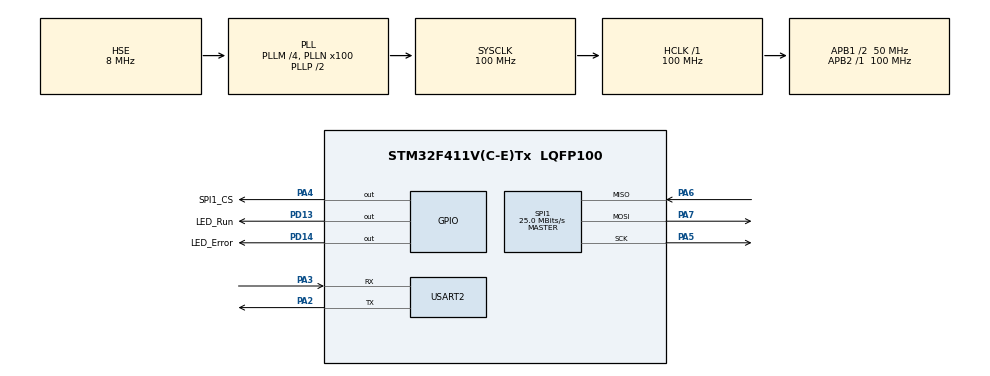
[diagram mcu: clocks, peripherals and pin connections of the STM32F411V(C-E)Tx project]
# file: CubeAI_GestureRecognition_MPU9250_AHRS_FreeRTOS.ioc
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FREERTOS.Tasks01=defaultTask,-3,128,StartDefaultTask,Default,NULL,Dynamic,NULL,NULL
FREERTOS.configUSE_NEWLIB_REENTRANT=1
Mcu.Family=STM32F4
Mcu.Name=STM32F411V(C-E)Tx
Mcu.Package=LQFP100
NVIC.PriorityGroup=NVIC_PRIORITYGROUP_4
NVIC.TIM1_TRG_COM_TIM11_IRQn=true\:15\:0\:false\:false\:true\:false\:false\:true\:true
NVIC.TimeBase=TIM1_TRG_COM_TIM11_IRQn
NVIC.TimeBaseIP=TIM11
PA13.Mode=Trace_Asynchronous_SW
PA13.Signal=SYS_JTMS-SWDIO
PA14.Mode=Trace_Asynchronous_SW
PA14.Signal=SYS_JTCK-SWCLK
PA2.Mode=Asynchronous
PA2.Signal=USART2_TX
PA3.Mode=Asynchronous
PA3.Signal=USART2_RX
PA4.GPIO_Label=SPI1_CS
PA4.Signal=GPIO_Output
PA5.Mode=Full_Duplex_Master
PA5.Signal=SPI1_SCK
PA6.Mode=Full_Duplex_Master
PA6.Signal=SPI1_MISO
PA7.Mode=Full_Duplex_Master
PA7.Signal=SPI1_MOSI
PB3.Mode=Trace_Asynchronous_SW
PB3.Signal=SYS_JTDO-SWO
PD13.GPIO_Label=LED_Run
PD13.Signal=GPIO_Output
PD14.GPIO_Label=LED_Error
PD14.Signal=GPIO_Output
PH0\ -\ OSC_IN.Mode=HSE-External-Oscillator
PH0\ -\ OSC_IN.Signal=RCC_OSC_IN
PH1\ -\ OSC_OUT.Mode=HSE-External-Oscillator
PH1\ -\ OSC_OUT.Signal=RCC_OSC_OUT
ProjectManager.HeapSize=0x800
ProjectManager.StackSize=0x800
ProjectManager.TargetToolchain=STM32CubeIDE
RCC.48MHZClocksFreq_Value=50000000
RCC.AHBFreq_Value=100000000
RCC.APB1CLKDivider=RCC_HCLK_DIV2
RCC.APB1Freq_Value=50000000
RCC.APB1TimFreq_Value=100000000
RCC.APB2Freq_Value=100000000
RCC.APB2TimFreq_Value=100000000
RCC.CortexFreq_Value=100000000
RCC.HCLKFreq_Value=100000000
RCC.HSE_VALUE=8000000
RCC.HSI_VALUE=16000000
RCC.LSE_VALUE=32768
RCC.PLLM=4
RCC.PLLN=100
RCC.PLLSourceVirtual=RCC_PLLSOURCE_HSE
RCC.SYSCLKFreq_VALUE=100000000
RCC.SYSCLKSource=RCC_SYSCLKSOURCE_PLLCLK
RCC.VCOOutputFreq_Value=200000000
SPI1.BaudRatePrescaler=SPI_BAUDRATEPRESCALER_4
SPI1.CalculateBaudRate=25.0 MBits/s
SPI1.Direction=SPI_DIRECTION_2LINES
SPI1.Mode=SPI_MODE_MASTER
SPI1.VirtualType=VM_MASTER
STMicroelectronics.X-CUBE-AI.9.0.0.ActivationBufferSizeList=360
STMicroelectronics.X-CUBE-AI.9.0.0.ActivationBuffers=pool0
STMicroelectronics.X-CUBE-AI.9.0.0.ActivationNames=pool0
STMicroelectronics.X-CUBE-AI.9.0.0.ActivationSizes=AI_IMU_MODEL_DATA_ACTIVATION_1_SIZE
STMicroelectronics.X-CUBE-AI.9.0.0.HeapSize=0x800
STMicroelectronics.X-CUBE-AI.9.0.0.InternalRamActivationBufferMaxSize=AI_IMU_MODEL_DATA_ACTIVATIONS_SIZE
STMicroelectronics.X-CUBE-AI.9.0.0.LatestDirectoryUsed-dc48f1263a0d28c3eaaa99dabfee9bb7557ad0ee74f6f283db58200e41470940=E\:\\sbzrgn\\My-STM32_Discoveries\\STM32F411_Discovery\\STM32F411Discovery_CubeAI_GestureRecognition_MPU9250_AHRS_FreeRTOS
STMicroelectronics.X-CUBE-AI.9.0.0.MaximumNumberOfInputLayer=1
STMicroelectronics.X-CUBE-AI.9.0.0.MaximumNumberOfOutputLayer=1
STMicroelectronics.X-CUBE-AI.9.0.0.MaximumSizeOfInputLayer=1
STMicroelectronics.X-CUBE-AI.9.0.0.MaximumSizeOfOutputLayer=1
STMicroelectronics.X-CUBE-AI.9.0.0.ModelActualCompression-dc48f1263a0d28c3eaaa99dabfee9bb7557ad0ee74f6f283db58200e41470940=0.0
STMicroelectronics.X-CUBE-AI.9.0.0.ModelCompression-dc48f1263a0d28c3eaaa99dabfee9bb7557ad0ee74f6f283db58200e41470940=None
STMicroelectronics.X-CUBE-AI.9.0.0.ModelFlashOccupation-dc48f1263a0d28c3eaaa99dabfee9bb7557ad0ee74f6f283db58200e41470940=828
STMicroelectronics.X-CUBE-AI.9.0.0.ModelHashList=dc48f1263a0d28c3eaaa99dabfee9bb7557ad0ee74f6f283db58200e41470940
STMicroelectronics.X-CUBE-AI.9.0.0.ModelKind-dc48f1263a0d28c3eaaa99dabfee9bb7557ad0ee74f6f283db58200e41470940=TFLITE
STMicroelectronics.X-CUBE-AI.9.0.0.ModelMacc-dc48f1263a0d28c3eaaa99dabfee9bb7557ad0ee74f6f283db58200e41470940=720
STMicroelectronics.X-CUBE-AI.9.0.0.ModelName-dc48f1263a0d28c3eaaa99dabfee9bb7557ad0ee74f6f283db58200e41470940=imu_model
STMicroelectronics.X-CUBE-AI.9.0.0.ModelNameList=imu_model
STMicroelectronics.X-CUBE-AI.9.0.0.ModelRamOccupation-dc48f1263a0d28c3eaaa99dabfee9bb7557ad0ee74f6f283db58200e41470940=360
STMicroelectronics.X-CUBE-AI.9.0.0.ModelStructureFile-dc48f1263a0d28c3eaaa99dabfee9bb7557ad0ee74f6f283db58200e41470940=E\:\\sbzrgn\\My-STM32_Discoveries\\STM32F411_Discovery\\STM32F411Discovery_CubeAI_GestureRecognition_MPU9250_AHRS_FreeRTOS\\imu_model.tflite
STMicroelectronics.X-CUBE-AI.9.0.0.ModelType-dc48f1263a0d28c3eaaa99dabfee9bb7557ad0ee74f6f283db58200e41470940=STM32Cube.AI MCU runtime
STMicroelectronics.X-CUBE-AI.9.0.0.ReadyForCodeGeneration=true
STMicroelectronics.X-CUBE-AI.9.0.0.StackSize=0x800
STMicroelectronics.X-CUBE-AI.9.0.0.WorkingBufferStartAddrList=0xFFFFFFFF
STMicroelectronics.X-CUBE-AI.9.0.0.XAaCUBEAaAICcArtificialOoIntelligenceJjCore=true
STMicroelectronics.X-CUBE-AI.9.0.0.copyWeightToRam=false
STMicroelectronics.X-CUBE-AI.9.0.0.copyWeightToRam-dc48f1263a0d28c3eaaa99dabfee9bb7557ad0ee74f6f283db58200e41470940=false
STMicroelectronics.X-CUBE-AI.9.0.0.customLayerConfigEnabled=false
STMicroelectronics.X-CUBE-AI.9.0.0.customLayerConfigEnabled-dc48f1263a0d28c3eaaa99dabfee9bb7557ad0ee74f6f283db58200e41470940=false
STMicroelectronics.X-CUBE-AI.9.0.0.noOnnxIoTranspose=false
STMicroelectronics.X-CUBE-AI.9.0.0.noOnnxIoTranspose-dc48f1263a0d28c3eaaa99dabfee9bb7557ad0ee74f6f283db58200e41470940=false
STMicroelectronics.X-CUBE-AI.9.0.0.useInputAllocation=true
STMicroelectronics.X-CUBE-AI.9.0.0.useInputAllocation-dc48f1263a0d28c3eaaa99dabfee9bb7557ad0ee74f6f283db58200e41470940=true
STMicroelectronics.X-CUBE-AI.9.0.0.useOutputAllocation=true
STMicroelectronics.X-CUBE-AI.9.0.0.useOutputAllocation-dc48f1263a0d28c3eaaa99dabfee9bb7557ad0ee74f6f283db58200e41470940=true
USART2.VirtualMode=VM_ASYNC
VP_CRC_VS_CRC.Mode=CRC_Activate
VP_FREERTOS_VS_CMSIS_V1.Mode=CMSIS_V1
VP_STMicroelectronics.X-CUBE-AI_VS_ArtificialOoIntelligenceJjXAaCUBEAaAI_9.0.0.Mode=ArtificialOoIntelligenceJjXAaCUBEAaAI
VP_SYS_VS_tim11.Mode=TIM11
board=custom

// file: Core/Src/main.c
/* USER CODE BEGIN Header */
/**
  ******************************************************************************
  * @file           : main.c
  * @brief          : Main program body
  ******************************************************************************
  * @attention
  *
  * Copyright (c) 2025 STMicroelectronics.
  * All rights reserved.
  *
  * This software is licensed under terms that can be found in the LICENSE file
  * in the root directory of this software component.
  * If no LICENSE file comes with this software, it is provided AS-IS.
  *
  ******************************************************************************
  */
/* USER CODE END Header */
#include "main.h"
#include "cmsis_os.h"

/* USER CODE BEGIN Includes */
#include "stdio.h"
#include "string.h"
#include "math.h"

#include "HAL_MPU9250.h"

#include "ai_datatypes_defines.h"
#include "ai_platform.h"
#include "imu_model.h"
#include "imu_model_data.h"
/* USER CODE END Includes */

/* USER CODE BEGIN PD */

/**
 * @brief If you want to read sensor data and send it to Python, Debug should be set to 1.
 * Otherwise, if you want to use the model to predict direction, Debug should be set to 0.
*/
#define Debug					1

#define ZERO_MAX				20
#define ZERO_MIN				-20
#define RAD2DEG 				57.2957795131
#define ALPHA 					0.98f          // Complementary filter coefficient
/* USER CODE END PD */

CRC_HandleTypeDef hcrc;

SPI_HandleTypeDef hspi1;

UART_HandleTypeDef huart2;

osThreadId defaultTaskHandle;
/* USER CODE BEGIN PV */
osThreadId runTaskHandle;
osThreadId readDataTaskHandle;
osThreadId sendDataTaskHandle;
osMessageQId Queue_1Handle;

MPU9250TypeDef MPU9250;

uint8_t IMU_rawData[14] = {0};
int16_t Raw_Accel[3] = {0}, Raw_Gyro[3] = {0};

float GX = 0, GY = 0, GZ = 0, AX = 0, AY = 0, AZ = 0;
float Roll, Pitch, Yaw;

typedef struct
{
	uint8_t Shifted_Roll;
	uint8_t Shifted_Pitch;
}IMUdata_t;

// AI buffers
AI_ALIGNED(4) ai_u8 activations[AI_IMU_MODEL_DATA_ACTIVATIONS_SIZE];
AI_ALIGNED(4) ai_u8 in_data[AI_IMU_MODEL_IN_1_SIZE_BYTES];
AI_ALIGNED(4) ai_u8 out_data[AI_IMU_MODEL_OUT_1_SIZE_BYTES];

ai_handle imu_model = AI_HANDLE_NULL;
ai_buffer *ai_input;
ai_buffer *ai_output;
/* USER CODE END PV */

void SystemClock_Config(void);
static void MX_GPIO_Init(void);
static void MX_SPI1_Init(void);
static void MX_USART2_UART_Init(void);
static void MX_CRC_Init(void);
void StartDefaultTask(void const * argument);

/* USER CODE BEGIN PFP */
void StartRunTask(void const * argument);
void StartReadDataTask(void const * argument);

#if Debug
void StartSendDataTask(void const * argument);
#endif

void IMU_Init(void);
void IMU_readRawData(void);
void IMU_UpdateAngles(float dt);

int run_imu_model(void);
/* USER CODE END PFP */

/* USER CODE BEGIN 0 */
int _write(int file, char *ptr, int len)
{
	int i = 0;
	for(i = 0; i < len; i++)
	{
		ITM_SendChar(*ptr++);
	}
	return len;
}
/* USER CODE END 0 */

int main(void)
{

  /* MCU Configuration--------------------------------------------------------*/

  /* Reset of all peripherals, Initializes the Flash interface and the Systick. */
  HAL_Init();

  /* Configure the system clock */
  SystemClock_Config();

  /* Initialize all configured peripherals */
  MX_GPIO_Init();
  MX_SPI1_Init();
  MX_USART2_UART_Init();
  MX_CRC_Init();
  /* USER CODE BEGIN 2 */
  run_imu_model();
  /* USER CODE END 2 */

  /* USER CODE BEGIN RTOS_QUEUES */
  /* add queues, ... */
#if Debug
  osMessageQDef(Queue_1, 1, sizeof(IMUdata_t));
  Queue_1Handle = osMessageCreate(osMessageQ(Queue_1), NULL);
#endif
  /* USER CODE END RTOS_QUEUES */

  /* Create the thread(s) */
  /* definition and creation of defaultTask */
  osThreadDef(defaultTask, StartDefaultTask, osPriorityIdle, 0, 128);
  defaultTaskHandle = osThreadCreate(osThread(defaultTask), NULL);

  /* USER CODE BEGIN RTOS_THREADS */
  /* add threads, ... */
  /* definition and creation of runTask */
  osThreadDef(runTask, StartRunTask, osPriorityNormal, 0, 128);
  runTaskHandle = osThreadCreate(osThread(runTask), NULL);

  /* definition and creation of readDataTask */
  osThreadDef(readDataTask, StartReadDataTask, osPriorityIdle, 0, 512);
  readDataTaskHandle = osThreadCreate(osThread(readDataTask), NULL);
#if Debug
  /* definition and creation of sendDataTask */
  osThreadDef(sendDataTask, StartSendDataTask, osPriorityNormal, 0, 512);
  sendDataTaskHandle = osThreadCreate(osThread(sendDataTask), NULL);
#endif
  /* USER CODE END RTOS_THREADS */

  /* Start scheduler */
  osKernelStart();

  /* We should never get here as control is now taken by the scheduler */

  /* Infinite loop */
  while (1)
  {

  }
}

void SystemClock_Config(void)
{
  RCC_OscInitTypeDef RCC_OscInitStruct = {0};
  RCC_ClkInitTypeDef RCC_ClkInitStruct = {0};

  /** Configure the main internal regulator output voltage
  */
  __HAL_RCC_PWR_CLK_ENABLE();
  __HAL_PWR_VOLTAGESCALING_CONFIG(PWR_REGULATOR_VOLTAGE_SCALE1);

  /** Initializes the RCC Oscillators according to the specified parameters
  * in the RCC_OscInitTypeDef structure.
  */
  RCC_OscInitStruct.OscillatorType = RCC_OSCILLATORTYPE_HSE;
  RCC_OscInitStruct.HSEState = RCC_HSE_ON;
  RCC_OscInitStruct.PLL.PLLState = RCC_PLL_ON;
  RCC_OscInitStruct.PLL.PLLSource = RCC_PLLSOURCE_HSE;
  RCC_OscInitStruct.PLL.PLLM = 4;
  RCC_OscInitStruct.PLL.PLLN = 100;
  RCC_OscInitStruct.PLL.PLLP = RCC_PLLP_DIV2;
  RCC_OscInitStruct.PLL.PLLQ = 4;
  if (HAL_RCC_OscConfig(&RCC_OscInitStruct) != HAL_OK)
  {
    Error_Handler();
  }

  /** Initializes the CPU, AHB and APB buses clocks
  */
  RCC_ClkInitStruct.ClockType = RCC_CLOCKTYPE_HCLK|RCC_CLOCKTYPE_SYSCLK
                              |RCC_CLOCKTYPE_PCLK1|RCC_CLOCKTYPE_PCLK2;
  RCC_ClkInitStruct.SYSCLKSource = RCC_SYSCLKSOURCE_PLLCLK;
  RCC_ClkInitStruct.AHBCLKDivider = RCC_SYSCLK_DIV1;
  RCC_ClkInitStruct.APB1CLKDivider = RCC_HCLK_DIV2;
  RCC_ClkInitStruct.APB2CLKDivider = RCC_HCLK_DIV1;

  if (HAL_RCC_ClockConfig(&RCC_ClkInitStruct, FLASH_LATENCY_3) != HAL_OK)
  {
    Error_Handler();
  }
}

static void MX_CRC_Init(void)
{

  hcrc.Instance = CRC;
  if (HAL_CRC_Init(&hcrc) != HAL_OK)
  {
    Error_Handler();
  }

}

static void MX_SPI1_Init(void)
{

  /* SPI1 parameter configuration*/
  hspi1.Instance = SPI1;
  hspi1.Init.Mode = SPI_MODE_MASTER;
  hspi1.Init.Direction = SPI_DIRECTION_2LINES;
  hspi1.Init.DataSize = SPI_DATASIZE_8BIT;
  hspi1.Init.CLKPolarity = SPI_POLARITY_LOW;
  hspi1.Init.CLKPhase = SPI_PHASE_1EDGE;
  hspi1.Init.NSS = SPI_NSS_SOFT;
  hspi1.Init.BaudRatePrescaler = SPI_BAUDRATEPRESCALER_4;
  hspi1.Init.FirstBit = SPI_FIRSTBIT_MSB;
  hspi1.Init.TIMode = SPI_TIMODE_DISABLE;
  hspi1.Init.CRCCalculation = SPI_CRCCALCULATION_DISABLE;
  hspi1.Init.CRCPolynomial = 10;
  if (HAL_SPI_Init(&hspi1) != HAL_OK)
  {
    Error_Handler();
  }

}

static void MX_USART2_UART_Init(void)
{

  huart2.Instance = USART2;
  huart2.Init.BaudRate = 115200;
  huart2.Init.WordLength = UART_WORDLENGTH_8B;
  huart2.Init.StopBits = UART_STOPBITS_1;
  huart2.Init.Parity = UART_PARITY_NONE;
  huart2.Init.Mode = UART_MODE_TX_RX;
  huart2.Init.HwFlowCtl = UART_HWCONTROL_NONE;
  huart2.Init.OverSampling = UART_OVERSAMPLING_16;
  if (HAL_UART_Init(&huart2) != HAL_OK)
  {
    Error_Handler();
  }

}

static void MX_GPIO_Init(void)
{
  GPIO_InitTypeDef GPIO_InitStruct = {0};

  /* GPIO Ports Clock Enable */
  __HAL_RCC_GPIOH_CLK_ENABLE();
  __HAL_RCC_GPIOA_CLK_ENABLE();
  __HAL_RCC_GPIOD_CLK_ENABLE();
  __HAL_RCC_GPIOB_CLK_ENABLE();

  /*Configure GPIO pin Output Level */
  HAL_GPIO_WritePin(SPI1_CS_GPIO_Port, SPI1_CS_Pin, GPIO_PIN_RESET);

  /*Configure GPIO pin Output Level */
  HAL_GPIO_WritePin(GPIOD, LED_Run_Pin|LED_Error_Pin, GPIO_PIN_RESET);

  /*Configure GPIO pin : SPI1_CS_Pin */
  GPIO_InitStruct.Pin = SPI1_CS_Pin;
  GPIO_InitStruct.Mode = GPIO_MODE_OUTPUT_PP;
  GPIO_InitStruct.Pull = GPIO_NOPULL;
  GPIO_InitStruct.Speed = GPIO_SPEED_FREQ_LOW;
  HAL_GPIO_Init(SPI1_CS_GPIO_Port, &GPIO_InitStruct);

  /*Configure GPIO pins : LED_Run_Pin LED_Error_Pin */
  GPIO_InitStruct.Pin = LED_Run_Pin|LED_Error_Pin;
  GPIO_InitStruct.Mode = GPIO_MODE_OUTPUT_PP;
  GPIO_InitStruct.Pull = GPIO_NOPULL;
  GPIO_InitStruct.Speed = GPIO_SPEED_FREQ_LOW;
  HAL_GPIO_Init(GPIOD, &GPIO_InitStruct);

}

/* USER CODE BEGIN 4 */
// <---- ------------ IMU Initialized ------------ ---->
void IMU_Init(void)
{
	MPU9250.PWR_MGMT1	= CLKSEL_1;						// CLOCK_SEL_PLL
	MPU9250.PWR_MGMT2	= ENABLE_ALL;					// Enable All Sensors
	MPU9250.Gyro_DLPF   = BW250_D970;
	MPU9250.Accel_DLPF  = BW218_D1880;
	MPU9250.Gyro_Range  = MPU9250_Gyroscope_2000;
	MPU9250.Accel_Range = MPU9250_Accelerometer_16;

	if(MPU9250_Init(&hspi1, SPI1_CS_GPIO_Port, SPI1_CS_Pin, &MPU9250) != MPU9250_RESULT_OK)
	{
		Error_Handler();
	}
}
// <---- ------------ IMU Read Raw Data ------------ ---->
void IMU_readRawData(void)
{
	// <---- ------------ Merging Data to get real IMU data ------------ ---->
	MPU9250_ReadData(&hspi1, IMU_rawData, MPU9250_ACCEL_XOUT_H, 6);
	Raw_Accel[0] = (int16_t)(IMU_rawData[0] << 8 | IMU_rawData[1]);
	Raw_Accel[1] = (int16_t)(IMU_rawData[2] << 8 | IMU_rawData[3]);
	Raw_Accel[2] = (int16_t)(IMU_rawData[4] << 8 | IMU_rawData[5]);

	MPU9250_ReadData(&hspi1, IMU_rawData, MPU9250_GYRO_XOUT_H, 6);
	Raw_Gyro[0] = (int16_t)(IMU_rawData[0] << 8 | IMU_rawData[1]);
	Raw_Gyro[1] = (int16_t)(IMU_rawData[2] << 8 | IMU_rawData[3]);
	Raw_Gyro[2] = (int16_t)(IMU_rawData[4] << 8 | IMU_rawData[5]);

	// <---- ------------ Removing Gyro's Noise around 0 state ------------ ---->
	Raw_Gyro[0] = (Raw_Gyro[0] <= ZERO_MAX && Raw_Gyro[0] >= ZERO_MIN)? 0: Raw_Gyro[0];
	Raw_Gyro[1] = (Raw_Gyro[1] <= ZERO_MAX && Raw_Gyro[1] >= ZERO_MIN)? 0: Raw_Gyro[1];
	Raw_Gyro[2] = (Raw_Gyro[2] <= ZERO_MAX && Raw_Gyro[2] >= ZERO_MIN)? 0: Raw_Gyro[2];

	GX = (float)(Raw_Gyro[0] * (2000 / 32768.0));
	GY = (float)(Raw_Gyro[1] * (2000 / 32768.0));
	GZ = (float)(Raw_Gyro[2] * (2000 / 32768.0));

	AX = (float)(Raw_Accel[0] * (16.0 / 32768.0));
	AY = (float)(Raw_Accel[1] * (16.0 / 32768.0));
	AZ = (float)(Raw_Accel[2] * (16.0 / 32768.0));

//	// <---- ------------ Converting Degree to Radian------------ ---->
	GX = GX / (180.0 / M_PI);
	GY = GY / (180.0 / M_PI);
	GZ = GZ / (180.0 / M_PI);
}

// <---- ------------ Convert raw data to the Roll and Pitch ------------ ---->
void IMU_UpdateAngles(float dt)
{
    static int first_run = 1;
    static float last_roll, last_pitch;

    IMUdata_t data;

    if(first_run)
    {
        float roll_acc = atan2f(AY, sqrtf(AX*AX + AZ*AZ));
        float pitch_acc = atan2f(-AX, sqrtf(AY*AY + AZ*AZ));
        last_roll = roll_acc;
        last_pitch = pitch_acc;
        first_run = 0;
        return;
    }

    // Gyro integration
    float gyro_roll = last_roll + GX * dt;
    float gyro_pitch = last_pitch + GY * dt;

    // Accelerometer angles
    float roll_acc = atan2f(AY, sqrtf(AX * AX + AZ * AZ));
    float pitch_acc = atan2f(-AX, sqrtf(AY * AY + AZ * AZ));

    // Complementary filter
    Roll = ALPHA * gyro_roll + (1 - ALPHA) * roll_acc;
    Pitch = ALPHA * gyro_pitch + (1 - ALPHA) * pitch_acc;

    // Yaw integration (will drift without magnetometer)
    Yaw += GZ * dt;

    // Store for next iteration
    last_roll = Roll;
    last_pitch = Pitch;

    data.Shifted_Roll  = (Roll + 10) * 10;
    data.Shifted_Pitch = (Pitch + 10) * 10;
    osMessagePut(Queue_1Handle, &data, osWaitForever);
    osDelay(100);
}

// <---- ------------ Check RunTime Task ------------ ---->
void StartRunTask(void const * argument)
{
  for(;;)
  {
	HAL_GPIO_TogglePin(LED_Run_GPIO_Port, LED_Run_Pin);
    osDelay(500);
  }
}

// <---- ------------ Reading raw data and converting Task ------------ ---->
void StartReadDataTask(void const * argument)
{
  uint32_t last_time = HAL_GetTick();
  uint32_t now = HAL_GetTick();
  float dt = (now - last_time) * 0.001f;

  IMU_Init();

  for(;;)
  {
	IMU_readRawData();

	now = HAL_GetTick();
    dt = (now - last_time) * 0.001f;
    last_time = now;

    IMU_UpdateAngles(dt);
  }
}

// <---- ------------ Sending to the PC Task ------------ ---->
void StartSendDataTask(void const * argument)
{
	uint8_t buf[100];
  int buf_len;

  IMUdata_t *data;
  osEvent evt;

  for(;;)
  {
    evt = osMessageGet(Queue_1Handle, osWaitForever);
    if (evt.status == osEventMessage)
    {
    	data = evt.value.p;

    	printf("Roll ----> %d \r\n", data->Shifted_Roll);
    	buf_len = sprintf(buf, "Roll ----> %d \r\n", data->Shifted_Roll);
    	HAL_UART_Transmit(&huart2, buf, buf_len, 100);
    	memset(buf, 0, buf_len);

    	printf("Pitch ----> %d \r\n", data->Shifted_Pitch);
    	buf_len = sprintf(buf, "Pitch ----> %d \r\n", data->Shifted_Pitch);
    	HAL_UART_Transmit(&huart2, buf, buf_len, 100);
    	memset(buf, 0, buf_len);

    }
  }
}

int run_imu_model(void)
{
	printf("Initializing IMU Model...\n");

	    ai_error err;
	    ai_network_report report;

	    // Initialize model instance
	    const ai_handle act[] = { activations };
	    err = ai_imu_model_create_and_init(&imu_model, act, NULL);
	    if (err.type != AI_ERROR_NONE)
	    {
	        printf("Error: could not create NN instance\n");
	        return;
	    }

	    // Get model report (optional, but useful)
	    if (!ai_imu_model_get_report(imu_model, &report))
	    {
	        printf("Error: get report failed\n");
	        return;
	    }

	    ai_input = &report.inputs[0];
	    ai_output = &report.outputs[0];

	    // Assign input/output buffers
	    ai_input[0].data = AI_HANDLE_PTR(in_data);
	    ai_output[0].data = AI_HANDLE_PTR(out_data);

	    printf("Model name      : %s\n", report.model_name);
	    printf("Input shape     : (%d, %d, %d)\n",
	        AI_BUFFER_SHAPE_ELEM(ai_input, AI_SHAPE_HEIGHT),
	        AI_BUFFER_SHAPE_ELEM(ai_input, AI_SHAPE_WIDTH),
	        AI_BUFFER_SHAPE_ELEM(ai_input, AI_SHAPE_CHANNEL));
	    printf("Output shape    : (%d, %d, %d)\n",
	        AI_BUFFER_SHAPE_ELEM(ai_output, AI_SHAPE_HEIGHT),
	        AI_BUFFER_SHAPE_ELEM(ai_output, AI_SHAPE_WIDTH),
	        AI_BUFFER_SHAPE_ELEM(ai_output, AI_SHAPE_CHANNEL));

	    // ==== STEP 1: Prepare input ====
	    float roll = 102.0f;
	    float pitch = 104.0f;

	    // Use same normalization as training
	    float mean_roll = 102.47f;
	    float std_roll  = 4.02f;
	    float mean_pitch = 104.19f;
	    float std_pitch  = 3.99f;

	    ((ai_float *)in_data)[0] = (roll - mean_roll) / std_roll;
	    ((ai_float *)in_data)[1] = (pitch - mean_pitch) / std_pitch;

	    // ==== STEP 2: Run inference ====
	    ai_i32 batch = ai_imu_model_run(imu_model, ai_input, ai_output);
	    if (batch != 1)
	    {
	        printf("Error: inference failed\n");
	        return;
	    }

	    // ==== STEP 3: Interpret output ====
	    ai_float *output = (ai_float *)out_data;
	    int predicted_label = 0;
	    float max_score = output[0];
	    for (int i = 1; i < 3; i++)
	    {
	        if (output[i] > max_score)
	        {
	            max_score = output[i];
	            predicted_label = i;
	        }
	    }

	    const char* label_names[] = {"Left", "Right", "Motionless"};
	    printf("Prediction: %s (score: %.2f)\n", label_names[predicted_label], max_score);
}
/* USER CODE END 4 */

void StartDefaultTask(void const * argument)
{
  /* USER CODE BEGIN 5 */
  /* Infinite loop */
  for(;;)
  {
	HAL_GPIO_TogglePin(LED_Run_GPIO_Port, LED_Run_Pin);
    osDelay(500);
  }
  /* USER CODE END 5 */
}

void HAL_TIM_PeriodElapsedCallback(TIM_HandleTypeDef *htim)
{
  if (htim->Instance == TIM11) {
    HAL_IncTick();
  }
}

void Error_Handler(void)
{
  /* USER CODE BEGIN Error_Handler_Debug */
	HAL_GPIO_WritePin(LED_Error_GPIO_Port, LED_Error_Pin, GPIO_PIN_SET);
  /* User can add his own implementation to report the HAL error return state */
  __disable_irq();
  while (1)
  {
  }
  /* USER CODE END Error_Handler_Debug */
}
